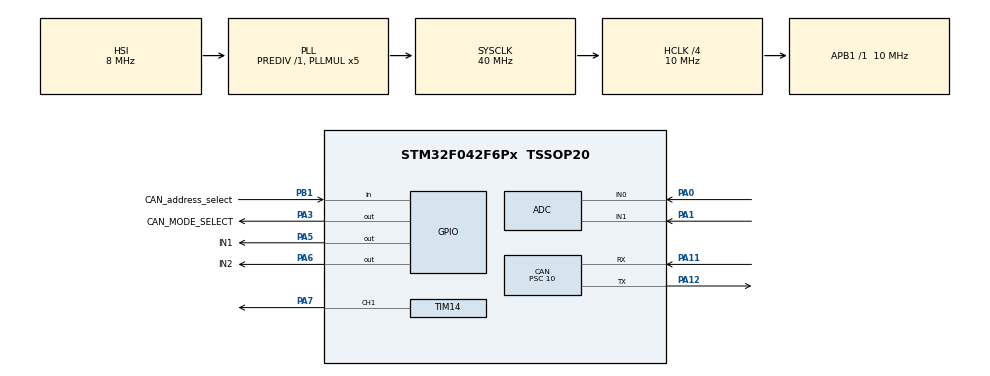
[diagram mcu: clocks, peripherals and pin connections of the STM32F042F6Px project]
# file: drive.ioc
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ADC.ClockPrescaler=ADC_CLOCK_SYNC_PCLK_DIV4
ADC.ContinuousConvMode=ENABLE
ADC.DMAContinuousRequests=ENABLE
ADC.EOCSelection=ADC_EOC_SEQ_CONV
ADC.EnableAnalogWatchDog=false
ADC.Overrun=ADC_OVR_DATA_OVERWRITTEN
ADC.SamplingTime=ADC_SAMPLETIME_239CYCLES_5
CAN.BS1=CAN_BS1_11TQ
CAN.BS2=CAN_BS2_8TQ
CAN.CalculateBaudRate=50000
CAN.CalculateTimeBit=20000
CAN.CalculateTimeQuantum=1000.0
CAN.Prescaler=10
Dma.ADC.0.Direction=DMA_PERIPH_TO_MEMORY
Dma.ADC.0.Instance=DMA1_Channel1
Dma.ADC.0.MemDataAlignment=DMA_MDATAALIGN_WORD
Dma.ADC.0.MemInc=DMA_MINC_ENABLE
Dma.ADC.0.Mode=DMA_CIRCULAR
Dma.ADC.0.PeriphDataAlignment=DMA_PDATAALIGN_WORD
Dma.ADC.0.PeriphInc=DMA_PINC_DISABLE
Dma.ADC.0.Priority=DMA_PRIORITY_LOW
Dma.Request0=ADC
Mcu.Family=STM32F0
Mcu.Name=STM32F042F6Px
Mcu.Package=TSSOP20
NVIC.CEC_CAN_IRQn=true\:2\:0\:true\:false\:true\:true\:true\:true
NVIC.DMA1_Channel1_IRQn=true\:0\:0\:false\:false\:true\:false\:true\:true
NVIC.TIM1_BRK_UP_TRG_COM_IRQn=true\:1\:0\:true\:false\:true\:true\:true\:true
PA0.Mode=IN0
PA0.Signal=ADC_IN0
PA1.Mode=IN1
PA1.Signal=ADC_IN1
PA11.Mode=CAN_Activate
PA11.Signal=CAN_RX
PA12.Mode=CAN_Activate
PA12.Signal=CAN_TX
PA13.Mode=Serial_Wire
PA13.Signal=SYS_SWDIO
PA14.Mode=Serial_Wire
PA14.Signal=SYS_SWCLK
PA3.GPIO_Label=CAN_MODE_SELECT
PA3.Signal=GPIO_Output
PA5.GPIO_Label=IN1
PA5.Signal=GPIO_Output
PA6.GPIO_Label=IN2
PA6.Signal=GPIO_Output
PA7.Signal=S_TIM14_CH1
PB1.GPIO_Label=CAN_address_select
PB1.GPIO_PuPd=GPIO_PULLUP
PB1.Signal=GPIO_Input
ProjectManager.HeapSize=0x200
ProjectManager.StackSize=0x400
ProjectManager.TargetToolchain=STM32CubeIDE
RCC.AHBCLKDivider=RCC_SYSCLK_DIV4
RCC.AHBFreq_Value=10000000
RCC.APB1Freq_Value=10000000
RCC.APB1TimFreq_Value=10000000
RCC.HCLKFreq_Value=10000000
RCC.PLLMUL=RCC_PLL_MUL5
RCC.SYSCLKFreq_VALUE=40000000
RCC.SYSCLKSource=RCC_SYSCLKSOURCE_PLLCLK
SH.S_TIM14_CH1.0=TIM14_CH1,PWM Generation1 CH1
TIM1.AutoReloadPreload=TIM_AUTORELOAD_PRELOAD_ENABLE
TIM1.Period=10-1
TIM1.Prescaler=1000-1
TIM14.AutoReloadPreload=TIM_AUTORELOAD_PRELOAD_ENABLE
TIM14.Channel=TIM_CHANNEL_1
TIM14.Period=1000-1
VP_SYS_VS_PINREMAP.Mode=PINREMAP
VP_TIM14_VS_ClockSourceINT.Mode=Enable_Timer
VP_TIM1_VS_ClockSourceINT.Mode=Internal
board=custom

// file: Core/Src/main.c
/* USER CODE BEGIN Header */
/**
  ******************************************************************************
  * @file           : main.c
  * @brief          : Main program body
  ******************************************************************************
  * @attention
  *
  * Copyright (c) 2024 STMicroelectronics.
  * All rights reserved.
  *
  * This software is licensed under terms that can be found in the LICENSE file
  * in the root directory of this software component.
  * If no LICENSE file comes with this software, it is provided AS-IS.
  *
  ******************************************************************************
  */
/* USER CODE END Header */
#include "main.h"

ADC_HandleTypeDef hadc;
DMA_HandleTypeDef hdma_adc;

CAN_HandleTypeDef hcan;

TIM_HandleTypeDef htim1;
TIM_HandleTypeDef htim14;

/* USER CODE BEGIN PV */
uint32_t canAddress;

CAN_TxHeaderTypeDef   TxHeader;
uint8_t               TxData[8];
uint32_t              TxMailbox;

CAN_RxHeaderTypeDef   RxHeader;
uint8_t               RxData[5];

uint8_t direction;
uint8_t pwmDutyCycle;

uint8_t floatData[4];
float rpm;

uint32_t datacheck;
volatile uint32_t millisecondstimer;

volatile uint32_t adcValues[2];
/* USER CODE END PV */

void SystemClock_Config(void);
static void MX_GPIO_Init(void);
static void MX_DMA_Init(void);
static void MX_CAN_Init(void);
static void MX_TIM14_Init(void);
static void MX_ADC_Init(void);
static void MX_TIM1_Init(void);
/* USER CODE BEGIN PFP */
float floatFromBytes(const char* bytes, int len);
/* USER CODE END PFP */

int main(void)
{

  /* MCU Configuration--------------------------------------------------------*/

  /* Reset of all peripherals, Initializes the Flash interface and the Systick. */
  HAL_Init();

  /* Configure the system clock */
  SystemClock_Config();

  /* Initialize all configured peripherals */
  MX_GPIO_Init();
  MX_DMA_Init();
  MX_CAN_Init();
  MX_TIM14_Init();
  MX_ADC_Init();
  MX_TIM1_Init();
  /* USER CODE BEGIN 2 */
  if (HAL_CAN_Start(&hcan) != HAL_OK){
	  Error_Handler();
  }

  if (HAL_CAN_ActivateNotification(&hcan, CAN_IT_RX_FIFO0_MSG_PENDING) != HAL_OK){
	  Error_Handler();
  }

  HAL_ADCEx_Calibration_Start(&hadc);
  HAL_ADC_Start_DMA(&hadc, (uint32_t *)adcValues, 2);

  HAL_TIM_Base_Start_IT(&htim1);
  HAL_TIM_PWM_Start(&htim14, TIM_CHANNEL_1);
  /* USER CODE END 2 */

  /* Infinite loop */
  /* USER CODE BEGIN WHILE */
  while (1)
  {
	  if(direction == 'F'){
		  HAL_GPIO_WritePin(IN1_GPIO_Port, IN1_Pin, 0);
		  HAL_GPIO_WritePin(IN2_GPIO_Port, IN2_Pin, 1);
	  }
	  else if(direction == 'B'){
		  HAL_GPIO_WritePin(IN1_GPIO_Port, IN1_Pin, 1);
		  HAL_GPIO_WritePin(IN2_GPIO_Port, IN2_Pin, 0);
	  }
	  else if(direction == 'S'){
		  HAL_GPIO_WritePin(IN1_GPIO_Port, IN1_Pin, 0);
		  HAL_GPIO_WritePin(IN2_GPIO_Port, IN2_Pin, 0);
	  }

	  TIM14->CCR1 = pwmDutyCycle * 10;

	  rpm = floatFromBytes(floatData, 4);
    /* USER CODE END WHILE */

  }
}

void SystemClock_Config(void)
{
  RCC_OscInitTypeDef RCC_OscInitStruct = {0};
  RCC_ClkInitTypeDef RCC_ClkInitStruct = {0};

  /** Initializes the RCC Oscillators according to the specified parameters
  * in the RCC_OscInitTypeDef structure.
  */
  RCC_OscInitStruct.OscillatorType = RCC_OSCILLATORTYPE_HSI;
  RCC_OscInitStruct.HSIState = RCC_HSI_ON;
  RCC_OscInitStruct.HSICalibrationValue = RCC_HSICALIBRATION_DEFAULT;
  RCC_OscInitStruct.PLL.PLLState = RCC_PLL_ON;
  RCC_OscInitStruct.PLL.PLLSource = RCC_PLLSOURCE_HSI;
  RCC_OscInitStruct.PLL.PLLMUL = RCC_PLL_MUL5;
  RCC_OscInitStruct.PLL.PREDIV = RCC_PREDIV_DIV1;
  if (HAL_RCC_OscConfig(&RCC_OscInitStruct) != HAL_OK)
  {
    Error_Handler();
  }

  /** Initializes the CPU, AHB and APB buses clocks
  */
  RCC_ClkInitStruct.ClockType = RCC_CLOCKTYPE_HCLK|RCC_CLOCKTYPE_SYSCLK
                              |RCC_CLOCKTYPE_PCLK1;
  RCC_ClkInitStruct.SYSCLKSource = RCC_SYSCLKSOURCE_PLLCLK;
  RCC_ClkInitStruct.AHBCLKDivider = RCC_SYSCLK_DIV4;
  RCC_ClkInitStruct.APB1CLKDivider = RCC_HCLK_DIV1;

  if (HAL_RCC_ClockConfig(&RCC_ClkInitStruct, FLASH_LATENCY_1) != HAL_OK)
  {
    Error_Handler();
  }
}

static void MX_ADC_Init(void)
{

  ADC_ChannelConfTypeDef sConfig = {0};

  /** Configure the global features of the ADC (Clock, Resolution, Data Alignment and number of conversion)
  */
  hadc.Instance = ADC1;
  hadc.Init.ClockPrescaler = ADC_CLOCK_SYNC_PCLK_DIV4;
  hadc.Init.Resolution = ADC_RESOLUTION_12B;
  hadc.Init.DataAlign = ADC_DATAALIGN_RIGHT;
  hadc.Init.ScanConvMode = ADC_SCAN_DIRECTION_FORWARD;
  hadc.Init.EOCSelection = ADC_EOC_SEQ_CONV;
  hadc.Init.LowPowerAutoWait = DISABLE;
  hadc.Init.LowPowerAutoPowerOff = DISABLE;
  hadc.Init.ContinuousConvMode = ENABLE;
  hadc.Init.DiscontinuousConvMode = DISABLE;
  hadc.Init.ExternalTrigConv = ADC_SOFTWARE_START;
  hadc.Init.ExternalTrigConvEdge = ADC_EXTERNALTRIGCONVEDGE_NONE;
  hadc.Init.DMAContinuousRequests = ENABLE;
  hadc.Init.Overrun = ADC_OVR_DATA_OVERWRITTEN;
  if (HAL_ADC_Init(&hadc) != HAL_OK)
  {
    Error_Handler();
  }

  /** Configure for the selected ADC regular channel to be converted.
  */
  sConfig.Channel = ADC_CHANNEL_0;
  sConfig.Rank = ADC_RANK_CHANNEL_NUMBER;
  sConfig.SamplingTime = ADC_SAMPLETIME_239CYCLES_5;
  if (HAL_ADC_ConfigChannel(&hadc, &sConfig) != HAL_OK)
  {
    Error_Handler();
  }

  /** Configure for the selected ADC regular channel to be converted.
  */
  sConfig.Channel = ADC_CHANNEL_1;
  if (HAL_ADC_ConfigChannel(&hadc, &sConfig) != HAL_OK)
  {
    Error_Handler();
  }

}

static void MX_CAN_Init(void)
{

  /* USER CODE BEGIN CAN_Init 0 */
	if (HAL_GPIO_ReadPin(CAN_address_select_GPIO_Port, CAN_address_select_Pin)) {
		// right motor
		canAddress = 0x13;
	} else {
		// left motor
		canAddress = 0x12;
	}
  /* USER CODE END CAN_Init 0 */

  hcan.Instance = CAN;
  hcan.Init.Prescaler = 10;
  hcan.Init.Mode = CAN_MODE_NORMAL;
  hcan.Init.SyncJumpWidth = CAN_SJW_1TQ;
  hcan.Init.TimeSeg1 = CAN_BS1_11TQ;
  hcan.Init.TimeSeg2 = CAN_BS2_8TQ;
  hcan.Init.TimeTriggeredMode = DISABLE;
  hcan.Init.AutoBusOff = DISABLE;
  hcan.Init.AutoWakeUp = DISABLE;
  hcan.Init.AutoRetransmission = DISABLE;
  hcan.Init.ReceiveFifoLocked = DISABLE;
  hcan.Init.TransmitFifoPriority = DISABLE;
  if (HAL_CAN_Init(&hcan) != HAL_OK)
  {
    Error_Handler();
  }
  /* USER CODE BEGIN CAN_Init 2 */
  CAN_FilterTypeDef canfilterconfig;

  canfilterconfig.FilterBank = 0; // Use filter bank 0
  canfilterconfig.FilterMode = CAN_FILTERMODE_IDLIST; // Mask mode
  canfilterconfig.FilterScale = CAN_FILTERSCALE_16BIT;
  canfilterconfig.FilterIdHigh = (canAddress << 5); // 11-bit ID shifted to high register
  canfilterconfig.FilterIdLow = (canAddress << 5); // 11-bit ID shifted to low register
  canfilterconfig.FilterMaskIdHigh = (canAddress << 5); // Exact match for ID
  canfilterconfig.FilterMaskIdLow = (canAddress << 5); // Exact match for ID
  canfilterconfig.FilterFIFOAssignment = CAN_RX_FIFO0; // Use FIFO 0
  canfilterconfig.FilterActivation = ENABLE;

  HAL_CAN_ConfigFilter(&hcan, &canfilterconfig);
  /* USER CODE END CAN_Init 2 */

}

static void MX_TIM1_Init(void)
{

  TIM_ClockConfigTypeDef sClockSourceConfig = {0};
  TIM_MasterConfigTypeDef sMasterConfig = {0};

  htim1.Instance = TIM1;
  htim1.Init.Prescaler = 1000-1;
  htim1.Init.CounterMode = TIM_COUNTERMODE_UP;
  htim1.Init.Period = 10-1;
  htim1.Init.ClockDivision = TIM_CLOCKDIVISION_DIV1;
  htim1.Init.RepetitionCounter = 0;
  htim1.Init.AutoReloadPreload = TIM_AUTORELOAD_PRELOAD_ENABLE;
  if (HAL_TIM_Base_Init(&htim1) != HAL_OK)
  {
    Error_Handler();
  }
  sClockSourceConfig.ClockSource = TIM_CLOCKSOURCE_INTERNAL;
  if (HAL_TIM_ConfigClockSource(&htim1, &sClockSourceConfig) != HAL_OK)
  {
    Error_Handler();
  }
  sMasterConfig.MasterOutputTrigger = TIM_TRGO_RESET;
  sMasterConfig.MasterSlaveMode = TIM_MASTERSLAVEMODE_DISABLE;
  if (HAL_TIMEx_MasterConfigSynchronization(&htim1, &sMasterConfig) != HAL_OK)
  {
    Error_Handler();
  }

}

static void MX_TIM14_Init(void)
{

  TIM_OC_InitTypeDef sConfigOC = {0};

  htim14.Instance = TIM14;
  htim14.Init.Prescaler = 0;
  htim14.Init.CounterMode = TIM_COUNTERMODE_UP;
  htim14.Init.Period = 1000-1;
  htim14.Init.ClockDivision = TIM_CLOCKDIVISION_DIV1;
  htim14.Init.AutoReloadPreload = TIM_AUTORELOAD_PRELOAD_ENABLE;
  if (HAL_TIM_Base_Init(&htim14) != HAL_OK)
  {
    Error_Handler();
  }
  if (HAL_TIM_PWM_Init(&htim14) != HAL_OK)
  {
    Error_Handler();
  }
  sConfigOC.OCMode = TIM_OCMODE_PWM1;
  sConfigOC.Pulse = 0;
  sConfigOC.OCPolarity = TIM_OCPOLARITY_HIGH;
  sConfigOC.OCFastMode = TIM_OCFAST_DISABLE;
  if (HAL_TIM_PWM_ConfigChannel(&htim14, &sConfigOC, TIM_CHANNEL_1) != HAL_OK)
  {
    Error_Handler();
  }
  HAL_TIM_MspPostInit(&htim14);

}

static void MX_DMA_Init(void)
{

  /* DMA controller clock enable */
  __HAL_RCC_DMA1_CLK_ENABLE();

  /* DMA interrupt init */
  /* DMA1_Channel1_IRQn interrupt configuration */
  HAL_NVIC_SetPriority(DMA1_Channel1_IRQn, 0, 0);
  HAL_NVIC_EnableIRQ(DMA1_Channel1_IRQn);

}

static void MX_GPIO_Init(void)
{
  GPIO_InitTypeDef GPIO_InitStruct = {0};

  /* GPIO Ports Clock Enable */
  __HAL_RCC_GPIOA_CLK_ENABLE();
  __HAL_RCC_GPIOB_CLK_ENABLE();

  /*Configure GPIO pin Output Level */
  HAL_GPIO_WritePin(GPIOA, CAN_MODE_SELECT_Pin|IN1_Pin|IN2_Pin, GPIO_PIN_RESET);

  /*Configure GPIO pins : CAN_MODE_SELECT_Pin IN1_Pin IN2_Pin */
  GPIO_InitStruct.Pin = CAN_MODE_SELECT_Pin|IN1_Pin|IN2_Pin;
  GPIO_InitStruct.Mode = GPIO_MODE_OUTPUT_PP;
  GPIO_InitStruct.Pull = GPIO_NOPULL;
  GPIO_InitStruct.Speed = GPIO_SPEED_FREQ_LOW;
  HAL_GPIO_Init(GPIOA, &GPIO_InitStruct);

  /*Configure GPIO pin : CAN_address_select_Pin */
  GPIO_InitStruct.Pin = CAN_address_select_Pin;
  GPIO_InitStruct.Mode = GPIO_MODE_INPUT;
  GPIO_InitStruct.Pull = GPIO_PULLUP;
  HAL_GPIO_Init(CAN_address_select_GPIO_Port, &GPIO_InitStruct);

}

/* USER CODE BEGIN 4 */
void HAL_TIM_PeriodElapsedCallback(TIM_HandleTypeDef *htim){
	if(millisecondstimer >= 4294967295){
		millisecondstimer = 0;
	}
	millisecondstimer++;
}

void HAL_CAN_RxFifo0MsgPendingCallback(CAN_HandleTypeDef *hcan) {
    // Retrieve the message
    if (HAL_CAN_GetRxMessage(hcan, CAN_RX_FIFO0, &RxHeader, RxData) != HAL_OK) {
        // Reception Error
        Error_Handler();
    }

    if(RxData[0] == 0x10 && RxData[1] == 0x00){
    	direction = RxData[2];
    	pwmDutyCycle = RxData[3];
    } else if(RxData[1] == 0x01){
    	for(uint8_t i = 0; i < 4; i++){
    		floatData[i] = RxData[i + 2];
    	}
    }
}

float floatFromBytes(const char* bytes, int len) {
    if (len != 4) {
        // Handle error: incorrect length
        return 0;
    }

    uint32_t floatInt = *(uint32_t*)bytes;

    // Extract the exponent and mantissa
    uint8_t signBit = bytes[0] & 0x80;
    uint8_t expBias = bytes[3];
    uint16_t expMant = (floatInt >> 1) | ((floatInt & 0x1f) << 23);
    uint32_t mant = floatInt;

    // Convert the binary floating-point representation
    float result;
    if (signBit == 0) {
        // Positive number
        result = (expMant * pow(2.0, expBias)) / (1 << 23) + mant / pow(2.0, 127);
    } else {
        // Negative number
        result = -(pow(2.0, -expBias - 23) * expMant + mant / pow(2.0, 127));
    }

    return result;
}
/* USER CODE END 4 */

void Error_Handler(void)
{
  __disable_irq();
  while (1)
  {
  }
}
